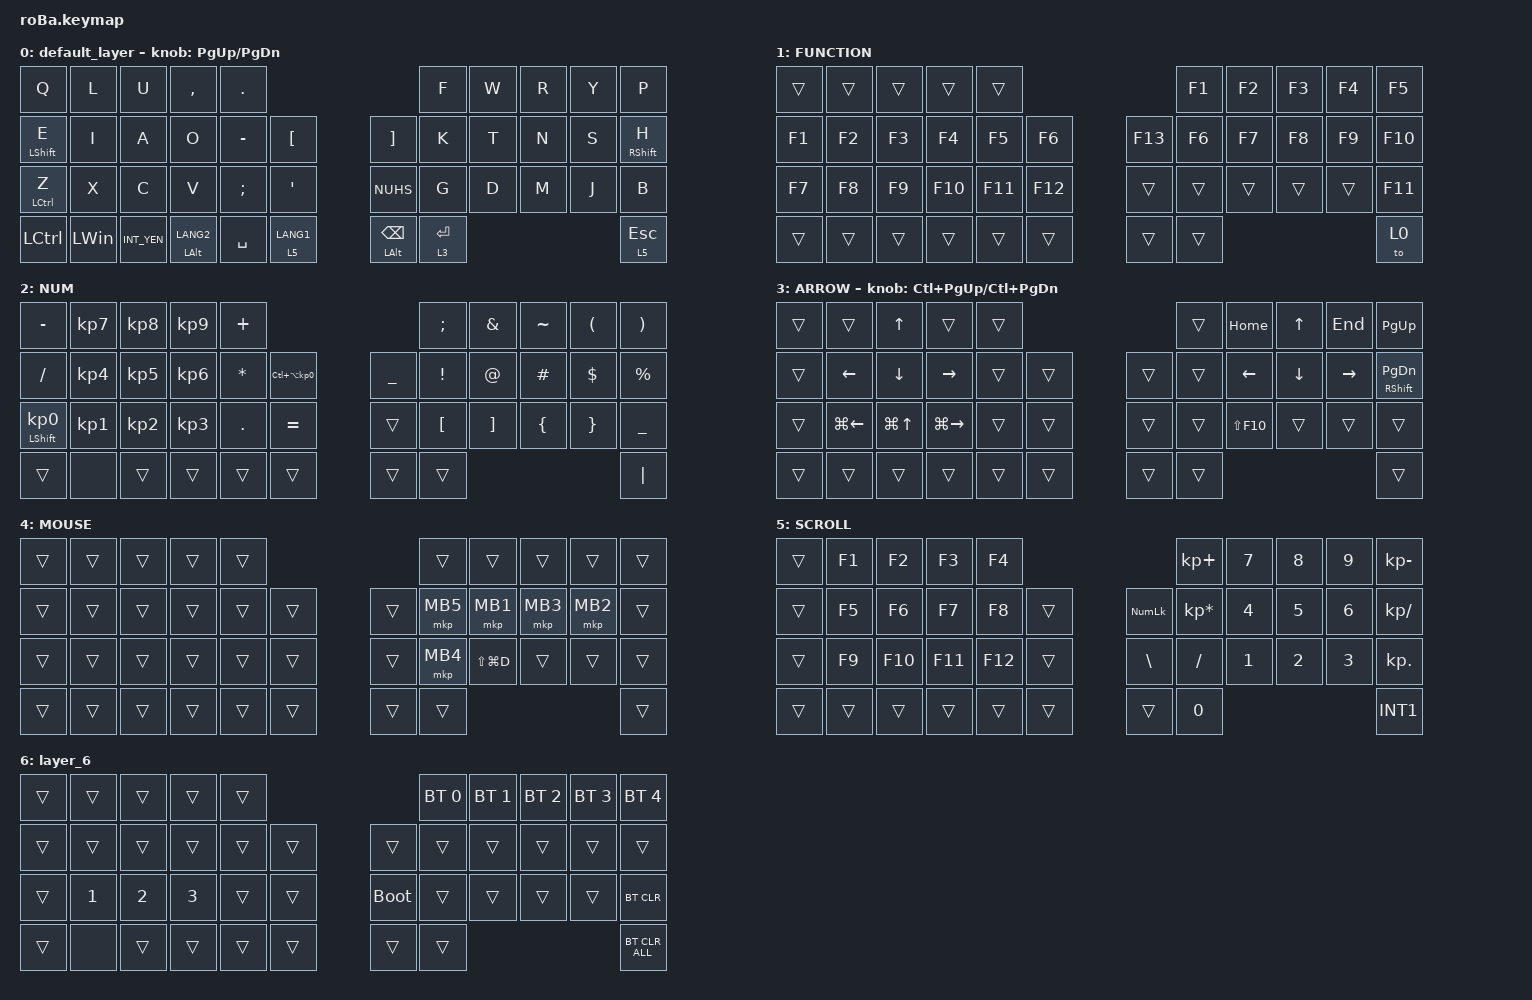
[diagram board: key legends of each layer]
#include <input/processors.dtsi>
#include <behaviors.dtsi>
#include <dt-bindings/zmk/bt.h>
#include <dt-bindings/zmk/keys.h>
#include <dt-bindings/zmk/pointing.h>

#define MOUSE 4
#define SCROLL 5
#define NUM 6

&mt {
    flavor = "balanced";
    quick-tap-ms = <0>;
};

&mkp_input_listener { input-processors = <&zip_temp_layer 4 250>; };

/ {
    combos {
        compatible = "zmk,combos";

        tab {
            bindings = <&kp TAB>;
            key-positions = <11 12>;
        };

        shift_tab {
            bindings = <&kp LS(TAB)>;
            key-positions = <12 13>;
        };

        eq {
            bindings = <&kp EQUAL>;
            key-positions = <8 9>;
        };

        BTConf {
            bindings = <&mo 6>;
            key-positions = <34 39 40>;
        };

        Undo {
            bindings = <&kp LC(Z)>;
            key-positions = <22 23>;
        };

        Redo {
            bindings = <&kp LC(Y)>;
            key-positions = <23 24>;
        };

        Delete {
            bindings = <&kp DELETE>;
            key-positions = <40 21>;
        };

        Ctrl+c {
            bindings = <&kp LC(C)>;
            key-positions = <22 24>;
        };

        Ctrl+v {
            bindings = <&kp LC(V)>;
            key-positions = <22 25>;
        };
    };

    macros {
        to_layer_0: to_layer_0 {
            compatible = "zmk,behavior-macro-one-param";
            #binding-cells = <1>;
            bindings = <&to 0 &macro_param_1to1 &kp MACRO_PLACEHOLDER>;
            label = "TO_LAYER_0";
        };

        exit_AML: exit_AML {
            compatible = "zmk,behavior-macro";
            wait-ms = <0>;
            tap-ms = <0>;
            #binding-cells = <0>;
            bindings = <&tog_off MOUSE>;
            label = "exit_AML";
        };

        kp_exit_AML: kp_exit_AML {
            compatible = "zmk,behavior-macro-one-param";
            wait-ms = <0>;
            tap-ms = <0>;
            #binding-cells = <1>;
            bindings = <&macro_param_1to1 &kp MACRO_PLACEHOLDER &exit_AML>;
            label = "KP_exit_AML";
        };
    };

    behaviors {
        lt_to_layer_0: lt_to_layer_0 {
            compatible = "zmk,behavior-hold-tap";
            label = "LAYER_TAP_TO_0";
            bindings = <&mo>, <&to_layer_0>;

            #binding-cells = <2>;
            tapping-term-ms = <200>;
        };

        tog_off: toggle_layer_off {
            compatible = "zmk,behavior-toggle-layer";
            #binding-cells = <1>;
            display-name = "Toggle Layer Off";
            toggle-mode = "off";
        };

        mt_exit_AML_on_tap: mt_exit_AML_on_tap {
            compatible = "zmk,behavior-hold-tap";
            label = "MT_exit_AML_ON_TAP";
            bindings = <&kp>, <&kp_exit_AML>;

            #binding-cells = <2>;
            tapping-term-ms = <200>;
            flavor = "balanced";
            quick-tap-ms = <200>;
        };
    };

    keymap {
        compatible = "zmk,keymap";

        default_layer {
            bindings = <
&kp Q                             &kp L         &kp U        &kp COMMA                           &kp DOT                                                                            &kp F        &kp W  &kp R  &kp Y  &kp P
&mt_exit_AML_on_tap LEFT_SHIFT E  &kp I         &kp A        &kp O                               &kp MINUS      &kp LEFT_BRACKET            &kp RBKT                                &kp K        &kp T  &kp N  &kp S  &mt_exit_AML_on_tap RIGHT_SHIFT H
&mt_exit_AML_on_tap LCTRL Z       &kp X         &kp C        &kp V                               &kp SEMICOLON  &kp SINGLE_QUOTE            &kp NUHS                                &kp G        &kp D  &kp M  &kp J  &kp B
&kp LCTRL                         &kp LEFT_WIN  &kp INT_YEN  &mt_exit_AML_on_tap LEFT_ALT LANG2  &kp SPACE      &lt_to_layer_0 5 LANG1      &mt_exit_AML_on_tap LEFT_ALT BACKSPACE  &lt 3 ENTER                       &lt_to_layer_0 5 ESC
            >;

            sensor-bindings = <&inc_dec_kp PG_UP PAGE_DOWN>;
        };

        FUNCTION {
            bindings = <
&trans  &trans  &trans  &trans   &trans                         &kp F1  &kp F2  &kp F3  &kp F4  &kp F5
&kp F1  &kp F2  &kp F3  &kp F4   &kp F5   &kp F6       &kp F13  &kp F6  &kp F7  &kp F8  &kp F9  &kp F10
&kp F7  &kp F8  &kp F9  &kp F10  &kp F11  &kp F12      &trans   &trans  &trans  &trans  &trans  &kp F11
&trans  &trans  &trans  &trans   &trans   &trans       &trans   &trans                          &to 0
            >;
        };

        NUM {
            bindings = <
&kp MINUS                   &kp KP_NUMBER_7  &kp KP_NUMBER_8  &kp KP_NUMBER_9  &kp PLUS                                                   &kp SEMICOLON     &kp AMPERSAND      &kp TILDE       &kp LEFT_PARENTHESIS  &kp RIGHT_PARENTHESIS
&kp SLASH                   &kp KP_NUMBER_4  &kp KP_NUMBER_5  &kp KP_NUMBER_6  &kp ASTERISK  &kp LC(LA(KP_NUMBER_0))      &kp UNDERSCORE  &kp EXCLAMATION   &kp AT_SIGN        &kp HASH        &kp DOLLAR            &kp PERCENT
&mt LEFT_SHIFT KP_NUMBER_0  &kp KP_NUMBER_1  &kp KP_NUMBER_2  &kp KP_NUMBER_3  &kp PERIOD    &kp EQUAL                    &trans          &kp LEFT_BRACKET  &kp RIGHT_BRACKET  &kp LEFT_BRACE  &kp RIGHT_BRACE       &kp UNDERSCORE
&trans                      &none            &trans           &trans           &trans        &trans                       &trans          &trans                                                                     &kp PIPE
            >;
        };

        ARROW {
            bindings = <
&trans  &trans              &kp UP_ARROW      &trans               &trans                      &trans  &kp HOME        &kp UP_ARROW    &kp END          &kp PG_UP
&trans  &kp LEFT_ARROW      &kp DOWN_ARROW    &kp RIGHT_ARROW      &trans  &trans      &trans  &trans  &kp LEFT_ARROW  &kp DOWN_ARROW  &kp RIGHT_ARROW  &mt RIGHT_SHIFT PAGE_DOWN
&trans  &kp LG(LEFT_ARROW)  &kp LG(UP_ARROW)  &kp LG(RIGHT_ARROW)  &trans  &trans      &trans  &trans  &kp LS(F10)     &trans          &trans           &trans
&trans  &trans              &trans            &trans               &trans  &trans      &trans  &trans                                                   &trans
            >;

            sensor-bindings = <&inc_dec_kp LC(PAGE_UP) LC(PAGE_DOWN)>;
        };

        MOUSE {
            bindings = <
&trans  &trans  &trans  &trans  &trans                      &trans    &trans         &trans    &trans    &trans
&trans  &trans  &trans  &trans  &trans  &trans      &trans  &mkp MB5  &mkp MB1       &mkp MB3  &mkp MB2  &trans
&trans  &trans  &trans  &trans  &trans  &trans      &trans  &mkp MB4  &kp LS(LG(D))  &trans    &trans    &trans
&trans  &trans  &trans  &trans  &trans  &trans      &trans  &trans                                       &trans
            >;
        };

        SCROLL {
            bindings = <
&trans  &kp F1  &kp F2   &kp F3   &kp F4                               &kp KP_PLUS      &kp N7  &kp N8  &kp N9  &kp KP_MINUS
&trans  &kp F5  &kp F6   &kp F7   &kp F8   &trans      &kp KP_NUMLOCK  &kp KP_ASTERISK  &kp N4  &kp N5  &kp N6  &kp KP_SLASH
&trans  &kp F9  &kp F10  &kp F11  &kp F12  &trans      &kp BACKSLASH   &kp SLASH        &kp N1  &kp N2  &kp N3  &kp KP_DOT
&trans  &trans  &trans   &trans   &trans   &trans      &trans          &kp N0                                   &kp INT1
            >;
        };

        layer_6 {
            bindings = <
&trans  &trans        &trans        &trans        &trans                           &bt BT_SEL 0  &bt BT_SEL 1  &bt BT_SEL 2  &bt BT_SEL 3  &bt BT_SEL 4
&trans  &trans        &trans        &trans        &trans  &trans      &trans       &trans        &trans        &trans        &trans        &trans
&trans  &kp NUMBER_1  &kp NUMBER_2  &kp NUMBER_3  &trans  &trans      &bootloader  &trans        &trans        &trans        &trans        &bt BT_CLR
&trans  &none         &trans        &trans        &trans  &trans      &trans       &trans                                                  &bt BT_CLR_ALL
            >;
        };
    };
};
